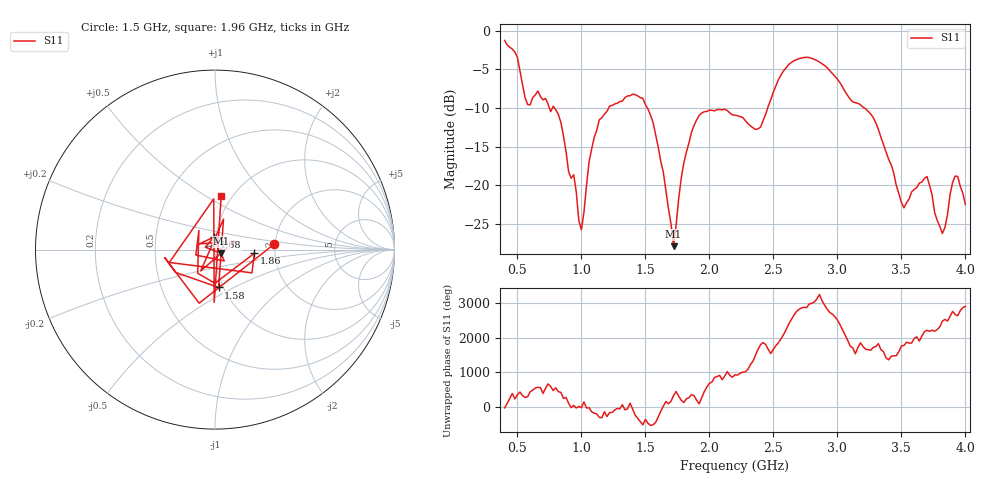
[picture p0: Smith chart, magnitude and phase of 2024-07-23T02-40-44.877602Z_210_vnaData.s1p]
!Created with skrf (http://scikit-rf.org).
# Hz S RI R 50.0
!freq ReS11 ImS11
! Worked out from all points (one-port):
!   181 points, 400 MHz to 4 GHz, reference 50 ohm
!   lowest |S11| = -27.9 dB at 1.72 GHz (marker M1), VSWR 1.08, Z = 53.5 - j2.22 ohm
!   |S11| at or under -10 dB: 789.6 MHz to 1.213 GHz (423.3 MHz wide, 42.3 % of centre); 1.515 GHz to 2.456 GHz (940.2 MHz wide, 47.4 % of centre); 3.21 GHz to end of sweep (the widest 3 of 4)
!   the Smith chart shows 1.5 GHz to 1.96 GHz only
!   S11 on the Smith chart (normalised r, x): 1.5 GHz: 1.98, +0.14; 1.58 GHz: 0.95, -0.42; 1.68 GHz: 0.98, +0.14; 1.86 GHz: 1.56, -0.07; 1.96 GHz: 0.89, +0.58
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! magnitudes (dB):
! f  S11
! 400 MHz  -1.3
! 500 MHz  -3.4
! 580 MHz  -9.6
! 660 MHz  -7.8
! 860 MHz  -13.6
! 1 GHz  -25.8
! 1.06 GHz  -17.0
! 1.14 GHz  -11.5
! 1.3 GHz  -9.2
! 1.5 GHz  -9.6
! 1.58 GHz  -13.5
! 1.68 GHz  -23.0
! 1.72 GHz  -27.9
! 1.76 GHz  -21.8
! 1.86 GHz  -13.1
! 1.96 GHz  -10.5
! 2.2 GHz  -10.9
! 2.4 GHz  -12.5
! 2.66 GHz  -3.9
! 2.88 GHz  -4.3
! 3.1 GHz  -8.9
! 3.28 GHz  -11.2
! 3.5 GHz  -22.2
! 3.56 GHz  -21.8
! 3.7 GHz  -18.9
! 3.82 GHz  -26.3
! 3.92 GHz  -18.8
! 4 GHz  -22.5
